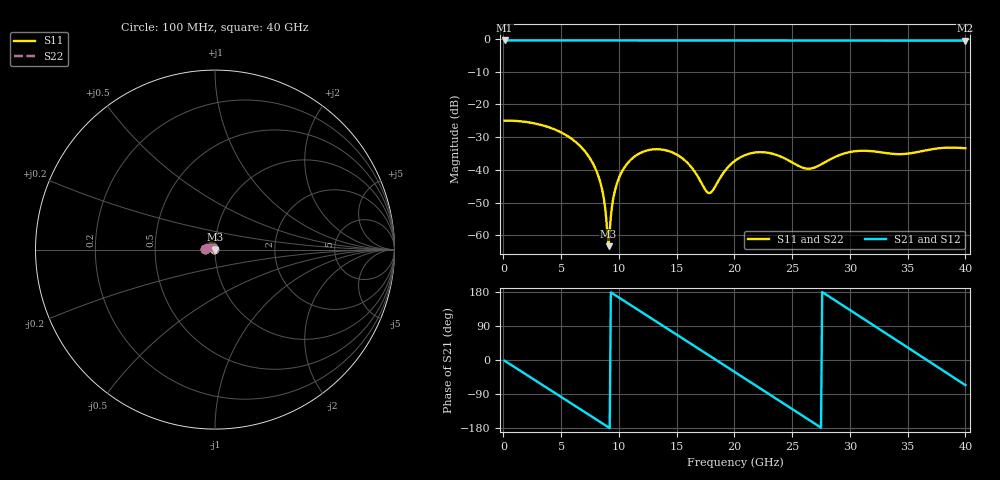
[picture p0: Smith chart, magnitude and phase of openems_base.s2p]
! T_ts6_ms_10: Microstrip L1, ThunderScope stack, w 0.265 mm, 10 mm
! stackup: ThunderScope Rev5.3 6-layer (FR408HR / FR-4, from the board file)
! ports: 1 near A, 2 far A
! openEMS 0.37.0, staircase, base mesh (dfine 0.035 mm), 407456 cells
# Hz S RI R 50
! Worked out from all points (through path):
!   400 points, 100 MHz to 40 GHz, reference 50 ohm
!   highest |S21| = -0.51 dB at 100 MHz (marker M1); lowest = -0.6 dB at 40 GHz (marker M2)
!   group delay of S21, straight-line fit = 54.6 ps
!   lowest |S11| = -63.3 dB at 9.1 GHz (marker M3), VSWR 1.00, Z = 50 - j0.0623 ohm
!   |S11| at or under -10 dB: start of sweep to end of sweep
!   |S22| runs from -63.3 to -24.9 dB; largest |S21 - S12| = 0
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1e8  -0.0566 0.00141  0.9426 -0.0321  0.9426 -0.0321  -0.0566 0.00141
1.8e9  -0.0487 0.024  0.7712 -0.5427  0.7712 -0.5427  -0.0487 0.024
3.7e9  -0.0262 0.0379  0.288 -0.8978  0.288 -0.8978  -0.0262 0.0379
5.2e9  -0.0064 0.0351  -0.1879 -0.9237  -0.1879 -0.9237  -0.0064 0.0351
6.8e9  0.00651 0.0206  -0.6394 -0.6922  -0.6394 -0.6922  0.00651 0.0206
8.4e9  0.00489 0.00403  -0.9053 -0.2601  -0.9053 -0.2601  0.00489 0.00403
8.8e9  0.00246 0.00108  -0.9322 -0.1346  -0.9322 -0.1346  0.00246 0.00108
9.1e9  0.00029 -0.000622  -0.941 -0.0388  -0.941 -0.0388  0.00029 -0.000622
9.5e9  -0.0029 -0.00211  -0.9375 0.0895  -0.9375 0.0895  -0.0029 -0.00211
1.02e10  -0.00866 -0.00249  -0.8896 0.3085  -0.8896 0.3085  -0.00866 -0.00249
1.34e10  -0.0128 0.0162  -0.136 0.9315  -0.136 0.9315  -0.0128 0.0162
1.54e10  0.00242 0.0153  0.4828 0.8079  0.4828 0.8079  0.00242 0.0153
1.78e10  0.00324 -0.00302  0.9197 0.1972  0.9197 0.1972  0.00324 -0.00302
2.01e10  -0.0137 -0.00259  0.7883 -0.5123  0.7883 -0.5123  -0.0137 -0.00259
2.33e10  -0.00306 0.0174  -0.0967 -0.9348  -0.0967 -0.9348  -0.00306 0.0174
2.67e10  0.00675 -0.00813  -0.8975 -0.2765  -0.8975 -0.2765  0.00675 -0.00813
2.85e10  -0.0108 -0.0106  -0.8907 0.2961  -0.8907 0.2961  -0.0108 -0.0106
3.05e10  -0.0173 0.00852  -0.4987 0.7946  -0.4987 0.7946  -0.0173 0.00852
3.34e10  0.0124 0.0128  0.4002 0.848  0.4002 0.848  0.0124 0.0128
3.51e10  0.0156 -0.00853  0.8031 0.4833  0.8031 0.4833  0.0156 -0.00853
3.67e10  -0.00192 -0.02  0.9369 -0.0117  0.9369 -0.0117  -0.00192 -0.02
4e10  -0.0157 0.0146  0.3755 -0.8573  0.3755 -0.8573  -0.0157 0.0146
